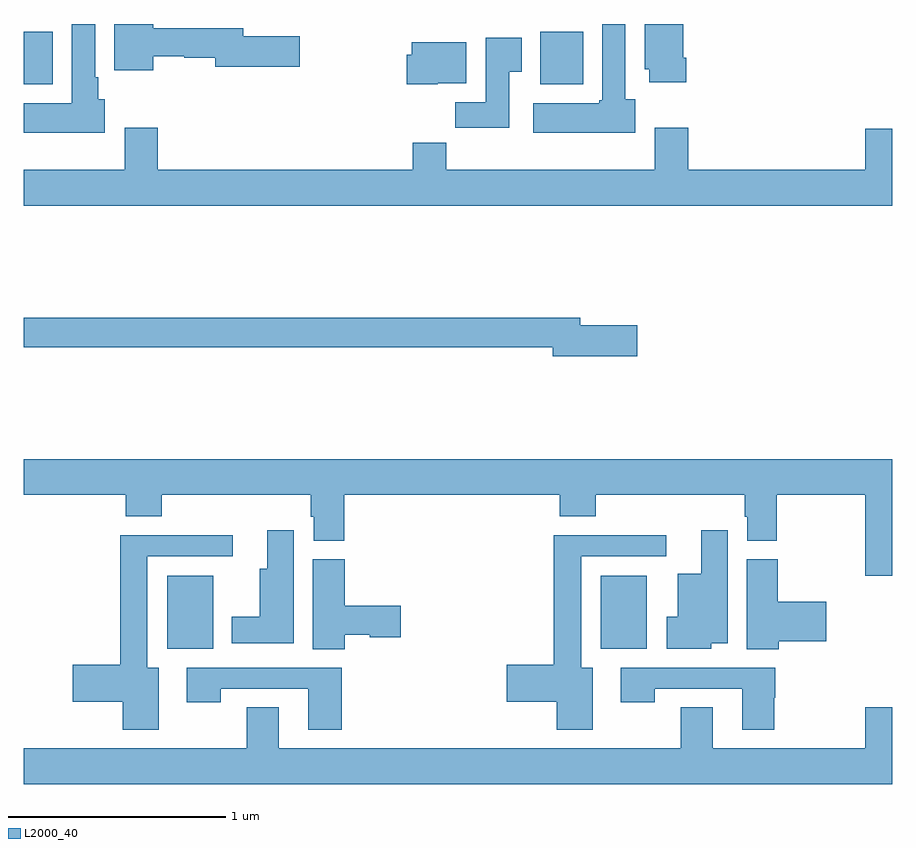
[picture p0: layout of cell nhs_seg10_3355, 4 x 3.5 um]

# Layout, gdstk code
import gdstk
lib = gdstk.Library(unit=1e-6, precision=1e-09)
def R(c, l, rs):  # rectangles x0, y0, x1, y1
    for r in rs: c.add(gdstk.rectangle(r[:2], r[2:], *l))
def P(c, l, *ps):  # polygons
    for p in ps: c.add(gdstk.Polygon(p, *l))
L2000_40 = (2000, 40)

nhs_seg10_3355 = lib.new_cell('nhs_seg10_3355')
R(nhs_seg10_3355, L2000_40, [(293.66,1283.624,293.872,1283.959), (295.658,1283.624,295.87,1283.959), (293,1286.222,293.134,1286.464), (295.379,1286.222,295.576,1286.464)])
P(nhs_seg10_3355, L2000_40, [(293.374,1286.154),(293.344,1286.154),(293.344,1286.254),(293.329,1286.254),(293.329,1286.5),(293.222,1286.5),(293.222,1286.134),(293,1286.134),(293,1286),(293.374,1286)],
  [(293.596,1286.352),(293.739,1286.352),(293.739,1286.344),(293.882,1286.344),(293.882,1286.302),(294.271,1286.302),(294.271,1286.444),(294.01,1286.444),(294.01,1286.48),(293.596,1286.48),(293.596,1286.5),(293.417,1286.5),(293.417,1286.288),(293.596,1286.288)],
  [(296.051,1286.344),(296.038,1286.344),(296.038,1286.5),(295.859,1286.5),(295.859,1286.292),(295.88,1286.292),(295.88,1286.232),(296.051,1286.232)],
  [(295.816,1286.154),(295.771,1286.154),(295.771,1286.5),(295.664,1286.5),(295.664,1286.148),(295.651,1286.148),(295.651,1286.134),(295.347,1286.134),(295.347,1286),(295.816,1286)],
  [(295.237,1286.281),(295.294,1286.281),(295.294,1286.437),(295.127,1286.437),(295.127,1286.14),(294.988,1286.14),(294.988,1286.022),(295.237,1286.022)],
  [(294.906,1286.228),(295.039,1286.228),(295.039,1286.416),(294.788,1286.416),(294.788,1286.358),(294.763,1286.358),(294.763,1286.222),(294.906,1286.222)],
  [(297,1286.017),(296.876,1286.017),(296.876,1285.828),(296.06,1285.828),(296.06,1286.023),(295.907,1286.023),(295.907,1285.828),(294.947,1285.828),(294.947,1285.952),(294.791,1285.952),(294.791,1285.828),(293.618,1285.828),(293.618,1286.023),(293.465,1286.023),(293.465,1285.828),(293,1285.828),(293,1285.664),(297,1285.664)],
  [(295.825,1285.112),(295.564,1285.112),(295.564,1285.148),(293,1285.148),(293,1285.012),(295.436,1285.012),(295.436,1284.97),(295.825,1284.97)],
  [(297,1284.496),(293,1284.496),(293,1284.332),(293.471,1284.332),(293.471,1284.233),(293.636,1284.233),(293.636,1284.332),(294.323,1284.332),(294.323,1284.231),(294.335,1284.231),(294.335,1284.121),(294.476,1284.121),(294.476,1284.332),(295.469,1284.332),(295.469,1284.233),(295.634,1284.233),(295.634,1284.332),(296.321,1284.332),(296.321,1284.231),(296.333,1284.231),(296.333,1284.121),(296.469,1284.121),(296.469,1284.332),(296.876,1284.332),(296.876,1283.958),(297,1283.958)],
  [(294.244,1284.169),(294.122,1284.169),(294.122,1283.992),(294.086,1283.992),(294.086,1283.77),(293.957,1283.77),(293.957,1283.648),(294.244,1283.648)],
  [(296.166,1283.648),(296.242,1283.648),(296.242,1284.169),(296.12,1284.169),(296.12,1283.968),(296.012,1283.968),(296.012,1283.77),(295.961,1283.77),(295.961,1283.624),(296.166,1283.624)],
  [(295.621,1283.536),(295.567,1283.536),(295.567,1284.048),(295.96,1284.048),(295.96,1284.146),(295.442,1284.146),(295.442,1283.549),(295.224,1283.549),(295.224,1283.378),(295.454,1283.378),(295.454,1283.25),(295.621,1283.25)],
  [(293.623,1283.536),(293.569,1283.536),(293.569,1284.048),(293.962,1284.048),(293.962,1284.146),(293.444,1284.146),(293.444,1283.549),(293.226,1283.549),(293.226,1283.378),(293.456,1283.378),(293.456,1283.25),(293.623,1283.25)],
  [(294.479,1283.687),(294.593,1283.687),(294.593,1283.675),(294.736,1283.675),(294.736,1283.822),(294.479,1283.822),(294.479,1284.036),(294.332,1284.036),(294.332,1283.62),(294.479,1283.62)],
  [(296.477,1283.657),(296.695,1283.657),(296.695,1283.84),(296.472,1283.84),(296.472,1284.036),(296.33,1284.036),(296.33,1283.62),(296.477,1283.62)],
  [(294.464,1283.535),(293.751,1283.535),(293.751,1283.376),(293.907,1283.376),(293.907,1283.439),(294.311,1283.439),(294.311,1283.25),(294.464,1283.25)],
  [(296.457,1283.397),(296.462,1283.397),(296.462,1283.535),(295.749,1283.535),(295.749,1283.376),(295.905,1283.376),(295.905,1283.439),(296.309,1283.439),(296.309,1283.25),(296.457,1283.25)],
  [(297,1283.353),(296.876,1283.353),(296.876,1283.164),(296.173,1283.164),(296.173,1283.354),(296.026,1283.354),(296.026,1283.164),(294.175,1283.164),(294.175,1283.354),(294.028,1283.354),(294.028,1283.164),(293,1283.164),(293,1283),(297,1283)])

lib.write_gds('nhs_seg10_3355.gds')
